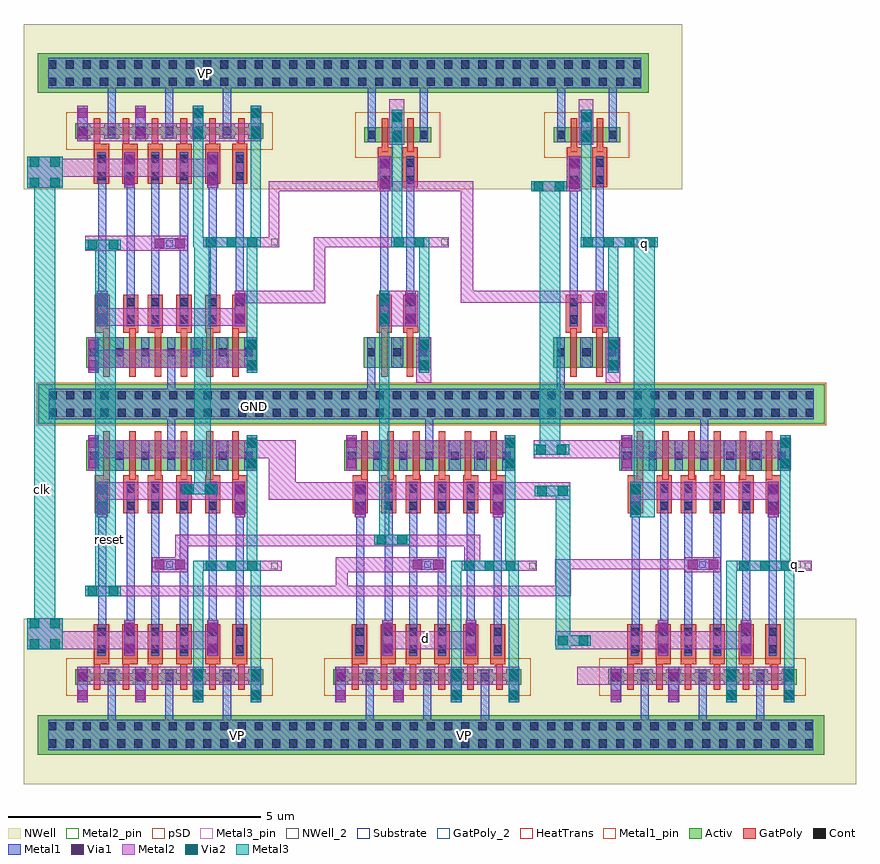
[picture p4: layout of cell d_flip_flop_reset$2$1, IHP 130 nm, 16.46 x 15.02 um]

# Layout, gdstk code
from math import pi, radians
import gdstk
lib = gdstk.Library(unit=1e-6, precision=1e-09)
def R(c, l, rs):  # rectangles x0, y0, x1, y1
    for r in rs: c.add(gdstk.rectangle(r[:2], r[2:], *l))
def A(c, l, x, y, w, h, nx, ny, dx, dy):  # array of equal rectangles
    R(c, l, [(x+i*dx, y+j*dy, x+i*dx+w, y+j*dy+h) for i in range(nx) for j in range(ny)])
Activ = (1, 0)
GatPoly = (5, 0)
GatPoly_2 = (5, 2)
Cont = (6, 0)
Metal1 = (8, 0)
Metal1_pin = (8, 2)
Metal2 = (10, 0)
Metal2_pin = (10, 2)
pSD = (14, 0)
Via1 = (19, 0)
Via2 = (29, 0)
Metal3 = (30, 0)
Metal3_pin = (30, 2)
NWell = (31, 0)
NWell_2 = (31, 2)
Substrate = (40, 0)
HeatTrans = (51, 0)

via_6_16_1 = lib.new_cell('Via$6$16$1')
R(via_6_16_1, Metal1, [(-0.105,-0.35,0.105,0.35)])
R(via_6_16_1, Metal2, [(-0.1,-0.35,0.1,0.35)])
R(via_6_16_1, Via1, [(-0.095,-0.3,0.095,-0.11), (-0.095,0.11,0.095,0.3)])

via_1_1_2_1 = lib.new_cell('Via$1$1$2$1')
R(via_1_1_2_1, Metal2, [(-0.1,-0.555,0.1,0.555)])
A(via_1_1_2_1, Via2, -0.095, -0.505, 0.19, 0.19, 1, 3, 0, 0.41)
R(via_1_1_2_1, Metal3, [(-0.1,-0.555,0.1,0.555)])

nmos_2_4_1 = lib.new_cell('nmos$2$4$1')
A(nmos_2_4_1, Activ, 0, 0, 0.3, 0.3, 7, 1, 0.51, 0)
R(nmos_2_4_1, Activ, [(0,0,3.36,0.6)])
A(nmos_2_4_1, GatPoly, 0.34, -0.18, 0.13, 0.96, 6, 1, 0.51, 0)
R(nmos_2_4_1, GatPoly_2, [(0.34,-0.18,0.47,0.78)])
A(nmos_2_4_1, Cont, 0.07, 0.22, 0.16, 0.16, 7, 1, 0.51, 0)
A(nmos_2_4_1, Metal1, 0.07, 0, 0.16, 0.6, 7, 1, 0.51, 0)
R(nmos_2_4_1, Metal1_pin, [(0.07,0,0.23,0.6), (0.58,0,0.74,0.6)])
A(nmos_2_4_1, HeatTrans, 0.34, -0.18, 0.13, 0.96, 6, 1, 0.51, 0)
nmos_2_4_1.add(gdstk.Label('nmos', (0.405,0.3), layer=63, texttype=0))
nmos_2_4_1.add(gdstk.Label('nmos', (0.405,0.3), layer=51, texttype=0))
nmos_2_4_1.add(gdstk.Label('nmos', (0.915,0.3), layer=51, texttype=0))
nmos_2_4_1.add(gdstk.Label('nmos', (1.425,0.3), layer=51, texttype=0))
nmos_2_4_1.add(gdstk.Label('nmos', (1.935,0.3), layer=51, texttype=0))
nmos_2_4_1.add(gdstk.Label('nmos', (2.445,0.3), layer=51, texttype=0))
nmos_2_4_1.add(gdstk.Label('nmos', (2.955,0.3), layer=51, texttype=0))

ntap1_6_2_1 = lib.new_cell('ntap1$6$2$1')
R(ntap1_6_2_1, Activ, [(0,0,5,0.78)])
A(ntap1_6_2_1, Cont, 0.21, 0.14, 0.16, 0.16, 14, 2, 0.34, 0.34)
R(ntap1_6_2_1, Metal1, [(0.21,0.09,4.79,0.69)])
R(ntap1_6_2_1, Metal1_pin, [(0.21,0.09,4.79,0.69), (0.21,0.14,4.79,0.64)])
R(ntap1_6_2_1, NWell, [(-0.24,-0.24,5.24,1.02), (0,0,5,0.78)])
R(ntap1_6_2_1, NWell_2, [(0,0,5,0.78)])
ntap1_6_2_1.add(gdstk.Label('well', (2.5,0.01), layer=63, texttype=0))
ntap1_6_2_1.add(gdstk.Label('well', (2.5,0.01), layer=31, texttype=0))

ptap1_2_6_1 = lib.new_cell('ptap1$2$6$1')
R(ptap1_2_6_1, Activ, [(0,0,5,0.78)])
A(ptap1_2_6_1, Cont, 0.21, 0.14, 0.16, 0.16, 14, 2, 0.34, 0.34)
R(ptap1_2_6_1, Metal1, [(0.21,0.09,4.79,0.69), (0.21,0.14,4.79,0.64)])
R(ptap1_2_6_1, Metal1_pin, [(0.21,0.14,4.79,0.64)])
R(ptap1_2_6_1, pSD, [(-0.03,-0.03,5.03,0.81)])
R(ptap1_2_6_1, Substrate, [(0,0,5,0.78)])
ptap1_2_6_1.add(gdstk.Label('sub!', (2.5,0.01), layer=63, texttype=0))
ptap1_2_6_1.add(gdstk.Label('sub!', (2.5,0.01), layer=40, texttype=0))

via_2_1_2_1 = lib.new_cell('Via$2$1$2$1')
R(via_2_1_2_1, Metal2, [(-0.1,-0.35,0.1,0.35)])
R(via_2_1_2_1, Via2, [(-0.095,-0.3,0.095,-0.11), (-0.095,0.11,0.095,0.3)])
R(via_2_1_2_1, Metal3, [(-0.1,-0.35,0.1,0.35)])

via_3_1_2_1 = lib.new_cell('Via$3$1$2$1')
R(via_3_1_2_1, GatPoly, [(-0.32,-0.15,0.32,0.15)])
R(via_3_1_2_1, Cont, [(-0.25,-0.08,-0.09,0.08), (0.09,-0.08,0.25,0.08)])
R(via_3_1_2_1, Metal1, [(-0.3,-0.08,0.3,0.08)])

pmos_2_5_4 = lib.new_cell('pmos$2$5$4')
A(pmos_2_5_4, Activ, 0, 0, 0.3, 0.3, 7, 1, 0.57, 0)
R(pmos_2_5_4, Activ, [(0,0.075,3.72,0.225)])
A(pmos_2_5_4, GatPoly, 0.37, -0.105, 0.13, 0.51, 6, 1, 0.57, 0)
R(pmos_2_5_4, GatPoly, [(0.37,-0.105,0.5,0.405)])
A(pmos_2_5_4, Cont, 0.07, 0.07, 0.16, 0.16, 7, 1, 0.57, 0)
A(pmos_2_5_4, Metal1, 0.64, 0.02, 0.16, 0.26, 6, 1, 0.57, 0)
R(pmos_2_5_4, Metal1, [(0.07,0.02,0.23,0.28), (0.07,0.02,0.23,0.28), (0.64,0.02,0.8,0.28)])
R(pmos_2_5_4, pSD, [(-0.18,-0.225,3.9,0.525)])
R(pmos_2_5_4, NWell, [(-0.31,-0.31,4.03,0.61)])
A(pmos_2_5_4, HeatTrans, 0.37, -0.105, 0.13, 0.51, 6, 1, 0.57, 0)
pmos_2_5_4.add(gdstk.Label('pmos', (0.435,0.15), layer=63, texttype=0))
pmos_2_5_4.add(gdstk.Label('pmos', (0.435,0.15), layer=51, texttype=0))
pmos_2_5_4.add(gdstk.Label('pmos', (1.005,0.15), layer=51, texttype=0))
pmos_2_5_4.add(gdstk.Label('pmos', (1.575,0.15), layer=51, texttype=0))
pmos_2_5_4.add(gdstk.Label('pmos', (2.145,0.15), layer=51, texttype=0))
pmos_2_5_4.add(gdstk.Label('pmos', (2.715,0.15), layer=51, texttype=0))
pmos_2_5_4.add(gdstk.Label('pmos', (3.285,0.15), layer=51, texttype=0))

nand_3in_nmosx3_1_2_2 = lib.new_cell('NAND_3in_nmosx3$1$2$2')
A(nand_3in_nmosx3_1_2_2, GatPoly, -0.54, -2.93, 0.3, 0.11, 3, 1, 0.57, 0)
A(nand_3in_nmosx3_1_2_2, GatPoly, -0.54, 0.655, 0.3, 0.15, 3, 1, 0.57, 0)
R(nand_3in_nmosx3_1_2_2, GatPoly, [(-1.585,-2.93,-1.285,-2.82), (-1.02,-2.93,-0.72,-2.82), (1.135,-2.93,1.435,-2.82), (-1.6,0.655,-1.3,0.805), (-1.035,0.655,-0.735,0.805), (1.13,0.655,1.43,0.805), (0.68,0.755,0.81,0.845), (1.22,0.755,1.35,0.845)])
R(nand_3in_nmosx3_1_2_2, Metal1, [(-0.155,-4.075,0.005,-3.295), (0.31,-3.6,0.55,-3.34), (0.82,-3.6,1.06,-3.34), (0.31,-3.36,0.55,-3.02), (0.82,-3.36,1.06,-3.02), (-1.515,-2.44,-1.355,0.56), (-0.95,-2.44,-0.79,0.05), (0.67,-2.44,0.83,0.05), (-0.47,-2.38,-0.31,0.175), (0.1,-2.38,0.26,0.245), (1.2,-2.21,1.36,-1.27), (1.2,-1.31,1.36,-0.37), (1.2,-0.455,1.36,0.075), (0.95,1.005,1.11,2.015), (-1.33,1.07,-1.17,2.065), (-0.19,1.075,-0.03,2.065)])
R(nand_3in_nmosx3_1_2_2, Metal1_pin, [(0.44,-4.33,0.57,-4.2), (0.74,2.225,0.87,2.355)])
R(nand_3in_nmosx3_1_2_2, Metal2, [(-1.685,-3.62,1.605,-3.27), (-1.475,-2.795,1.395,-2.445), (-0.45,-1.315,0.25,-1.015), (1.62,-1.24,2.05,-1.04), (-0.895,0.155,0.83,0.505), (-1.925,0.855,1.7,1.205)])
R(nand_3in_nmosx3_1_2_2, Metal2_pin, [(-1.495,-2.31,-1.365,-2.18), (1.225,-2.31,1.355,-2.18), (-0.175,-1.235,-0.045,-1.105), (1.905,-1.205,2.035,-1.075), (-0.955,0.005,-0.825,0.135), (-0.955,0.005,-0.825,0.135), (0.69,0.005,0.82,0.135), (0.69,0.005,0.82,0.135)])
R(nand_3in_nmosx3_1_2_2, Metal3, [(1.425,-3.03,1.625,-2.83), (1.425,-2.83,1.625,-2.425), (1.425,-2.5,1.625,-1.15), (0.36,-1.24,0.56,-0.97), (0.38,-1.24,0.565,-1.04), (1.66,-1.24,1.7,-1.09), (1.5,-1.09,1.7,0.17), (0.36,-0.97,0.56,0.26), (1.5,0.045,1.7,1.02), (0.36,0.155,0.56,0.855)])
R(nand_3in_nmosx3_1_2_2, NWell, [(-2.99,-0.1,2.93,3.17)])
nand_3in_nmosx3_1_2_2.add(gdstk.Reference(via_6_16_1, (1.285,-2.45), rotation=pi))
nand_3in_nmosx3_1_2_2.add(gdstk.Reference(via_6_16_1, (0.75,0.285), rotation=pi))
nand_3in_nmosx3_1_2_2.add(gdstk.Reference(via_6_16_1, (0.46,1.205), rotation=pi))
nand_3in_nmosx3_1_2_2.add(gdstk.Reference(via_6_16_1, (1.6,1.205), rotation=pi))
nand_3in_nmosx3_1_2_2.add(gdstk.Reference(via_1_1_2_1, (1.12,-1.14), rotation=3*pi/2))
nand_3in_nmosx3_1_2_2.add(gdstk.Reference(nmos_2_4_1, (1.605,-3.02), rotation=pi))
nand_3in_nmosx3_1_2_2.add(gdstk.Reference(ntap1_6_2_1, (-2.71,1.81)))
nand_3in_nmosx3_1_2_2.add(gdstk.Reference(ptap1_2_6_1, (-2.7,-4.73)))
nand_3in_nmosx3_1_2_2.add(gdstk.Reference(via_2_1_2_1, (1.525,-3.37), rotation=pi))
nand_3in_nmosx3_1_2_2.add(gdstk.Reference(via_2_1_2_1, (0.46,1.205), rotation=pi))
nand_3in_nmosx3_1_2_2.add(gdstk.Reference(via_2_1_2_1, (1.6,1.205), rotation=pi))
nand_3in_nmosx3_1_2_2.add(gdstk.Reference(via_3_1_2_1, (0.75,-2.5), rotation=3*pi/2))
nand_3in_nmosx3_1_2_2.add(gdstk.Reference(via_3_1_2_1, (1.285,-2.5), rotation=3*pi/2))
nand_3in_nmosx3_1_2_2.add(gdstk.Reference(via_3_1_2_1, (0.75,0.335), rotation=3*pi/2))
nand_3in_nmosx3_1_2_2.add(gdstk.Reference(via_3_1_2_1, (1.28,0.335), rotation=3*pi/2))
nand_3in_nmosx3_1_2_2.add(gdstk.Reference(pmos_2_5_4, (1.75,1.205), rotation=pi))
nand_3in_nmosx3_1_2_2.add(gdstk.Reference(via_3_1_2_1, (0.18,0.335), rotation=3*pi/2))
nand_3in_nmosx3_1_2_2.add(gdstk.Reference(via_3_1_2_1, (0.18,-2.5), rotation=3*pi/2))
nand_3in_nmosx3_1_2_2.add(gdstk.Reference(via_3_1_2_1, (-0.39,0.335), rotation=3*pi/2))
nand_3in_nmosx3_1_2_2.add(gdstk.Reference(via_3_1_2_1, (-0.39,-2.5), rotation=3*pi/2))
nand_3in_nmosx3_1_2_2.add(gdstk.Reference(via_6_16_1, (-0.1,-1.165), rotation=3*pi/2))
nand_3in_nmosx3_1_2_2.add(gdstk.Reference(via_6_16_1, (-0.68,1.205), rotation=pi))
nand_3in_nmosx3_1_2_2.add(gdstk.Reference(via_6_16_1, (-1.825,1.205), rotation=pi))
nand_3in_nmosx3_1_2_2.add(gdstk.Reference(via_6_16_1, (0.75,0.285), rotation=pi))
nand_3in_nmosx3_1_2_2.add(gdstk.Reference(via_3_1_2_1, (0.75,0.335), rotation=3*pi/2))
nand_3in_nmosx3_1_2_2.add(gdstk.Reference(via_3_1_2_1, (-0.885,0.335), rotation=3*pi/2))
nand_3in_nmosx3_1_2_2.add(gdstk.Reference(via_6_16_1, (-0.895,0.285), rotation=pi))
nand_3in_nmosx3_1_2_2.add(gdstk.Reference(via_3_1_2_1, (-0.885,0.335), rotation=3*pi/2))
nand_3in_nmosx3_1_2_2.add(gdstk.Reference(via_6_16_1, (-0.895,0.285), rotation=pi))
nand_3in_nmosx3_1_2_2.add(gdstk.Reference(via_3_1_2_1, (-0.87,-2.5), rotation=3*pi/2))
nand_3in_nmosx3_1_2_2.add(gdstk.Reference(via_6_16_1, (-1.435,-2.45), rotation=pi))
nand_3in_nmosx3_1_2_2.add(gdstk.Reference(via_3_1_2_1, (-1.435,-2.5), rotation=3*pi/2))
nand_3in_nmosx3_1_2_2.add(gdstk.Reference(via_3_1_2_1, (-1.45,0.335), rotation=3*pi/2))
nand_3in_nmosx3_1_2_2.add(gdstk.Reference(via_6_16_1, (-1.61,-3.37), rotation=pi))
nand_3in_nmosx3_1_2_2.add(gdstk.Reference(via_6_16_1, (1.525,-3.37), rotation=pi))
nand_3in_nmosx3_1_2_2.add(gdstk.Label('GND', (0.505,-4.26), layer=8, texttype=25))
nand_3in_nmosx3_1_2_2.add(gdstk.Label('VP', (0.8,2.285), layer=8, texttype=25))
nand_3in_nmosx3_1_2_2.add(gdstk.Label('a', (-1.435,-2.25), layer=10, texttype=25))
nand_3in_nmosx3_1_2_2.add(gdstk.Label('a', (1.285,-2.25), layer=10, texttype=25))
nand_3in_nmosx3_1_2_2.add(gdstk.Label('b', (0.76,0.095), layer=10, texttype=25))
nand_3in_nmosx3_1_2_2.add(gdstk.Label('b', (-0.885,0.095), layer=10, texttype=25))
nand_3in_nmosx3_1_2_2.add(gdstk.Label('b', (-0.885,0.095), layer=10, texttype=25))
nand_3in_nmosx3_1_2_2.add(gdstk.Label('b', (0.76,0.095), layer=10, texttype=25))
nand_3in_nmosx3_1_2_2.add(gdstk.Label('c', (-0.11,-1.175), layer=10, texttype=25))
nand_3in_nmosx3_1_2_2.add(gdstk.Label('y', (1.97,-1.14), layer=10, texttype=25))

ptap1_11_1 = lib.new_cell('ptap1$11$1')
R(ptap1_11_1, Activ, [(0,0,1.7,0.78)])
A(ptap1_11_1, Cont, 0.09, 0.14, 0.16, 0.16, 5, 2, 0.34, 0.34)
R(ptap1_11_1, Metal1, [(0.09,0.09,1.61,0.69), (0.09,0.14,1.61,0.64)])
R(ptap1_11_1, Metal1_pin, [(0.09,0.14,1.61,0.64)])
R(ptap1_11_1, pSD, [(-0.03,-0.03,1.73,0.81)])
R(ptap1_11_1, Substrate, [(0,0,1.7,0.78)])
ptap1_11_1.add(gdstk.Label('sub!', (0.85,0.01), layer=63, texttype=0))
ptap1_11_1.add(gdstk.Label('sub!', (0.85,0.01), layer=40, texttype=0))

ntap1_2_11_1 = lib.new_cell('ntap1$2$11$1')
R(ntap1_2_11_1, Activ, [(0,0,1.7,0.78)])
A(ntap1_2_11_1, Cont, 0.09, 0.14, 0.16, 0.16, 5, 2, 0.34, 0.34)
R(ntap1_2_11_1, Metal1, [(0.09,0.09,1.61,0.69)])
R(ntap1_2_11_1, Metal1_pin, [(0.09,0.09,1.61,0.69), (0.09,0.14,1.61,0.64)])
R(ntap1_2_11_1, NWell, [(-0.24,-0.24,1.94,1.02), (0,0,1.7,0.78)])
R(ntap1_2_11_1, NWell_2, [(0,0,1.7,0.78)])
ntap1_2_11_1.add(gdstk.Label('well', (0.85,0.01), layer=63, texttype=0))
ntap1_2_11_1.add(gdstk.Label('well', (0.85,0.01), layer=31, texttype=0))

ntap1_41_1 = lib.new_cell('ntap1$41$1')
R(ntap1_41_1, Activ, [(0,0,2.4,0.78)])
A(ntap1_41_1, Cont, 0.1, 0.14, 0.16, 0.16, 7, 2, 0.34, 0.34)
R(ntap1_41_1, Metal1, [(0.1,0.09,2.3,0.69)])
R(ntap1_41_1, Metal1_pin, [(0.1,0.09,2.3,0.69), (0.1,0.14,2.3,0.64)])
R(ntap1_41_1, NWell, [(-0.24,-0.24,2.64,1.02), (0,0,2.4,0.78)])
R(ntap1_41_1, NWell_2, [(0,0,2.4,0.78)])
ntap1_41_1.add(gdstk.Label('well', (1.2,0.01), layer=63, texttype=0))
ntap1_41_1.add(gdstk.Label('well', (1.2,0.01), layer=31, texttype=0))

ntap1_7_2_2 = lib.new_cell('ntap1$7$2$2')
R(ntap1_7_2_2, Activ, [(0,0,2.5,0.78)])
A(ntap1_7_2_2, Cont, 0.15, 0.14, 0.16, 0.16, 7, 2, 0.34, 0.34)
R(ntap1_7_2_2, Metal1, [(0.15,0.09,2.35,0.69)])
R(ntap1_7_2_2, Metal1_pin, [(0.15,0.09,2.35,0.69), (0.15,0.14,2.35,0.64)])
R(ntap1_7_2_2, NWell, [(-0.24,-0.24,2.74,1.02), (0,0,2.5,0.78)])
R(ntap1_7_2_2, NWell_2, [(0,0,2.5,0.78)])
ntap1_7_2_2.add(gdstk.Label('well', (1.25,0.01), layer=63, texttype=0))
ntap1_7_2_2.add(gdstk.Label('well', (1.25,0.01), layer=31, texttype=0))

ptap1_4_3_1 = lib.new_cell('ptap1$4$3$1')
R(ptap1_4_3_1, Activ, [(0,0,2.5,0.78)])
A(ptap1_4_3_1, Cont, 0.15, 0.14, 0.16, 0.16, 7, 2, 0.34, 0.34)
R(ptap1_4_3_1, Metal1, [(0.15,0.09,2.35,0.69), (0.15,0.14,2.35,0.64)])
R(ptap1_4_3_1, Metal1_pin, [(0.15,0.14,2.35,0.64)])
R(ptap1_4_3_1, pSD, [(-0.03,-0.03,2.53,0.81)])
R(ptap1_4_3_1, Substrate, [(0,0,2.5,0.78)])
ptap1_4_3_1.add(gdstk.Label('sub!', (1.25,0.01), layer=63, texttype=0))
ptap1_4_3_1.add(gdstk.Label('sub!', (1.25,0.01), layer=40, texttype=0))

via_7_16_1 = lib.new_cell('Via$7$16$1')
R(via_7_16_1, Metal2, [(-0.1,-0.35,0.1,0.35)])
R(via_7_16_1, Via2, [(-0.095,-0.3,0.095,-0.11), (-0.095,0.11,0.095,0.3)])
R(via_7_16_1, Metal3, [(-0.1,-0.35,0.1,0.35)])

via_1_2_2_1 = lib.new_cell('Via$1$2$2$1')
R(via_1_2_2_1, Metal1, [(-0.105,-0.35,0.105,0.35)])
R(via_1_2_2_1, Metal2, [(-0.1,-0.35,0.1,0.35)])
R(via_1_2_2_1, Via1, [(-0.095,-0.3,0.095,-0.11), (-0.095,0.11,0.095,0.3)])

via_2_2_2_1 = lib.new_cell('Via$2$2$2$1')
R(via_2_2_2_1, GatPoly, [(-0.32,-0.15,0.32,0.15)])
R(via_2_2_2_1, Cont, [(-0.25,-0.08,-0.09,0.08), (0.09,-0.08,0.25,0.08)])
R(via_2_2_2_1, Metal1, [(-0.3,-0.08,0.3,0.08)])

pmos_3_4_1 = lib.new_cell('pmos$3$4$1')
A(pmos_3_4_1, Activ, 0, 0, 0.3, 0.3, 3, 1, 0.51, 0)
R(pmos_3_4_1, Activ, [(0,0,1.32,0.3)])
R(pmos_3_4_1, GatPoly, [(0.34,-0.18,0.47,0.48), (0.34,-0.18,0.47,0.48), (0.85,-0.18,0.98,0.48)])
A(pmos_3_4_1, Cont, 0.07, 0.07, 0.16, 0.16, 3, 1, 0.51, 0)
R(pmos_3_4_1, Metal1, [(0.07,0,0.23,0.3), (0.07,0,0.23,0.3), (0.58,0,0.74,0.3), (0.58,0,0.74,0.3), (1.09,0,1.25,0.3)])
R(pmos_3_4_1, pSD, [(-0.18,-0.3,1.5,0.6)])
R(pmos_3_4_1, NWell, [(-0.31,-0.31,1.63,0.61)])
R(pmos_3_4_1, HeatTrans, [(0.34,-0.18,0.47,0.48), (0.85,-0.18,0.98,0.48)])
pmos_3_4_1.add(gdstk.Label('pmos', (0.405,0.15), layer=63, texttype=0))
pmos_3_4_1.add(gdstk.Label('pmos', (0.405,0.15), layer=51, texttype=0))
pmos_3_4_1.add(gdstk.Label('pmos', (0.915,0.15), layer=51, texttype=0))

nmos_3_2_1 = lib.new_cell('nmos$3$2$1')
A(nmos_3_2_1, Activ, 0, 0, 0.3, 0.3, 3, 1, 0.51, 0)
R(nmos_3_2_1, Activ, [(0,0,1.32,0.6)])
R(nmos_3_2_1, GatPoly, [(0.34,-0.18,0.47,0.78), (0.85,-0.18,0.98,0.78)])
R(nmos_3_2_1, GatPoly_2, [(0.34,-0.18,0.47,0.78)])
A(nmos_3_2_1, Cont, 0.07, 0.22, 0.16, 0.16, 3, 1, 0.51, 0)
A(nmos_3_2_1, Metal1, 0.07, 0, 0.16, 0.6, 3, 1, 0.51, 0)
R(nmos_3_2_1, Metal1_pin, [(0.07,0,0.23,0.6), (0.58,0,0.74,0.6)])
R(nmos_3_2_1, HeatTrans, [(0.34,-0.18,0.47,0.78), (0.85,-0.18,0.98,0.78)])
nmos_3_2_1.add(gdstk.Label('nmos', (0.405,0.3), layer=63, texttype=0))
nmos_3_2_1.add(gdstk.Label('nmos', (0.405,0.3), layer=51, texttype=0))
nmos_3_2_1.add(gdstk.Label('nmos', (0.915,0.3), layer=51, texttype=0))

nand_2in_nmosx2_1_2_1 = lib.new_cell('NAND_2in_nmosx2$1$2$1')
R(nand_2in_nmosx2_1_2_1, GatPoly, [(0.63,-2.93,0.93,-2.82), (1.15,-2.93,1.45,-2.82), (0.645,0.58,0.945,0.73), (1.145,0.58,1.445,0.73), (0.725,0.68,0.855,0.77)])
R(nand_2in_nmosx2_1_2_1, Metal1, [(0.445,-4.32,0.605,-3.295), (0.915,-3.6,1.155,-3.34), (0.915,-3.36,1.155,-3.02), (0.7,-2.68,0.86,0.26), (1.215,-2.21,1.375,-1.27), (1.215,-1.31,1.375,-0.37), (1.215,-0.37,1.375,-0.01), (0.455,1.01,0.615,1.15), (0.455,1.115,0.615,1.99), (1.475,1.115,1.635,1.94)])
R(nand_2in_nmosx2_1_2_1, Metal1_pin, [(0.44,-4.32,0.57,-4.19), (0.4,2.15,0.53,2.28)])
R(nand_2in_nmosx2_1_2_1, Metal2, [(1.415,-3.92,1.705,-3.72), (1.415,-3.72,1.705,-3.02), (1.15,-2.8,1.45,-2.1), (1.62,-1.24,2.05,-1.04), (0.645,-0.14,0.945,0.56), (0.88,0.78,1.17,0.98), (0.88,0.98,1.17,1.68)])
R(nand_2in_nmosx2_1_2_1, Metal2_pin, [(1.24,-2.27,1.37,-2.14), (1.905,-1.205,2.035,-1.075), (0.735,-0.1,0.865,0.03)])
R(nand_2in_nmosx2_1_2_1, Metal3, [(1.465,-3.03,1.665,-2.83), (1.465,-2.905,1.665,-1.045), (0.93,-1.09,1.13,0.17), (0.93,0.1,1.13,0.62), (0.93,0.62,1.13,0.72), (0.93,0.71,1.13,0.87)])
R(nand_2in_nmosx2_1_2_1, NWell, [(-0.85,-0.1,2.93,3.17)])
nand_2in_nmosx2_1_2_1.add(gdstk.Reference(ntap1_7_2_2, (-0.23,1.81)))
nand_2in_nmosx2_1_2_1.add(gdstk.Reference(ptap1_4_3_1, (-0.22,-4.73)))
nand_2in_nmosx2_1_2_1.add(gdstk.Reference(via_7_16_1, (1.27,-1.14), rotation=3*pi/2))
nand_2in_nmosx2_1_2_1.add(gdstk.Reference(via_1_2_2_1, (1.565,-3.37), rotation=pi))
nand_2in_nmosx2_1_2_1.add(gdstk.Reference(via_1_2_2_1, (1.3,-2.45), rotation=pi))
nand_2in_nmosx2_1_2_1.add(gdstk.Reference(via_1_2_2_1, (0.795,0.21), rotation=pi))
nand_2in_nmosx2_1_2_1.add(gdstk.Reference(via_1_2_2_1, (1.03,1.13), rotation=pi))
nand_2in_nmosx2_1_2_1.add(gdstk.Reference(via_2_2_2_1, (1.3,-2.5), rotation=3*pi/2))
nand_2in_nmosx2_1_2_1.add(gdstk.Reference(via_2_2_2_1, (0.795,0.26), rotation=3*pi/2))
nand_2in_nmosx2_1_2_1.add(gdstk.Reference(via_2_2_2_1, (1.295,0.26), rotation=3*pi/2))
nand_2in_nmosx2_1_2_1.add(gdstk.Reference(via_7_16_1, (1.565,-3.37), rotation=pi))
nand_2in_nmosx2_1_2_1.add(gdstk.Reference(via_7_16_1, (1.03,1.13), rotation=pi))
nand_2in_nmosx2_1_2_1.add(gdstk.Reference(pmos_3_4_1, (1.705,1.13), rotation=pi))
nand_2in_nmosx2_1_2_1.add(gdstk.Reference(via_2_2_2_1, (0.78,-2.5), rotation=3*pi/2))
nand_2in_nmosx2_1_2_1.add(gdstk.Reference(nmos_3_2_1, (1.695,-3.02), rotation=pi))
nand_2in_nmosx2_1_2_1.add(gdstk.Label('GND', (0.505,-4.25), layer=8, texttype=25))
nand_2in_nmosx2_1_2_1.add(gdstk.Label('VP', (0.46,2.21), layer=8, texttype=25))
nand_2in_nmosx2_1_2_1.add(gdstk.Label('b', (0.795,-0.04), layer=10, texttype=25))
nand_2in_nmosx2_1_2_1.add(gdstk.Label('a', (1.3,-2.21), layer=10, texttype=25))
nand_2in_nmosx2_1_2_1.add(gdstk.Label('y', (1.97,-1.14), layer=10, texttype=25))

ntap1_4_2_1 = lib.new_cell('ntap1$4$2$1')
R(ntap1_4_2_1, Activ, [(0,0,2.2,0.78)])
A(ntap1_4_2_1, Cont, 0.17, 0.14, 0.16, 0.16, 6, 2, 0.34, 0.34)
R(ntap1_4_2_1, Metal1, [(0.17,0.09,2.03,0.69)])
R(ntap1_4_2_1, Metal1_pin, [(0.17,0.09,2.03,0.69), (0.17,0.14,2.03,0.64)])
R(ntap1_4_2_1, NWell, [(-0.24,-0.24,2.44,1.02), (0,0,2.2,0.78)])
R(ntap1_4_2_1, NWell_2, [(0,0,2.2,0.78)])
ntap1_4_2_1.add(gdstk.Label('well', (1.1,0.01), layer=63, texttype=0))
ntap1_4_2_1.add(gdstk.Label('well', (1.1,0.01), layer=31, texttype=0))

via_28_1 = lib.new_cell('Via$28$1')
R(via_28_1, Metal2, [(-0.35,-0.1,0.35,0.1)])
R(via_28_1, Via2, [(-0.3,-0.095,-0.11,0.095), (0.11,-0.095,0.3,0.095)])
R(via_28_1, Metal3, [(-0.35,-0.1,0.35,0.1)])

via_1_6_2 = lib.new_cell('Via$1$6$2')
R(via_1_6_2, Metal2, [(-0.35,-0.305,0.35,0.305)])
R(via_1_6_2, Via2, [(-0.3,-0.3,-0.11,-0.11), (0.11,-0.3,0.3,-0.11), (-0.3,0.11,-0.11,0.3), (0.11,0.11,0.3,0.3)])
R(via_1_6_2, Metal3, [(-0.35,-0.305,0.35,0.305)])

d_flip_flop_reset_2_1 = lib.new_cell('d_flip_flop_reset$2$1')
R(d_flip_flop_reset_2_1, Metal1_pin, [(4.345,-7.965,4.475,-7.835), (-0.13,-7.955,0,-7.825), (0.19,-1.45,0.32,-1.32), (-0.775,5.135,-0.645,5.265)])
R(d_flip_flop_reset_2_1, Metal2, [(6.64,-6.885,7.635,-6.535), (-3.98,-6.185,-1.905,-5.835), (6.215,-6.185,8.6,-5.835), (-2.955,-5.135,2.105,-4.935), (1.865,-5.135,2.105,-4.585), (2,-5.135,6.515,-4.935), (6.21,-5.135,6.515,-4.52), (1.865,-4.665,3.56,-4.365), (0.62,-4.64,0.8,-4.44), (4.405,-4.64,4.725,-4.025), (6.21,-4.61,9.48,-4.41), (-1.3,-4.51,-1.06,-3.96), (-1.3,-4.15,4.725,-3.92), (0.545,-3.235,2.615,-2.885), (0.545,-3.235,1.075,-2.06), (4.86,-3.235,6.5,-2.885), (0.015,-2.41,1.075,-2.06), (5.78,-2.41,8.05,-2.06), (2.86,0.2,3.25,0.9), (-0.125,0.535,0.085,0.735), (-0.125,0.65,1.66,0.9), (1.43,0.65,1.66,1.96), (4.345,0.66,7.05,0.9), (4.345,0.9,4.585,3.06), (-3.08,1.685,-1.76,1.985), (0.55,1.76,0.75,3.058), (1.66,1.76,3.02,1.96), (0.55,2.86,4.535,3.06), (-3.98,3.155,-1.905,3.505)])
R(d_flip_flop_reset_2_1, Metal2_pin, [(3.58,-6.03,3.71,-5.9), (10.93,-4.58,11.06,-4.45), (7.905,1.77,8.035,1.9)])
R(d_flip_flop_reset_2_1, Metal3, [(6.215,-6.185,6.5,-2.96), (-4.085,-5.99,-3.675,3.04), (-2.885,-5.135,-2.475,1.81), (2.73,-4.015,2.93,0.215), (7.76,-3.58,8.17,1.96), (-0.93,-3.115,-0.6,1.96), (5.9,-2.285,6.31,3.02), (7.405,1.76,7.725,1.96)])
R(d_flip_flop_reset_2_1, Metal3_pin, [(-2.66,-4.08,-2.53,-3.95), (-4,-3.09,-3.87,-2.96)])
d_flip_flop_reset_2_1.add(gdstk.Reference(nand_3in_nmosx3_1_2_2, (-1.31,3)))
d_flip_flop_reset_2_1.add(gdstk.Reference(ptap1_11_1, (0.53,-1.73)))
d_flip_flop_reset_2_1.add(gdstk.Reference(ptap1_11_1, (3.93,-1.73)))
d_flip_flop_reset_2_1.add(gdstk.Reference(nand_3in_nmosx3_1_2_2, (-1.31,-5.68), x_reflection=True))
d_flip_flop_reset_2_1.add(gdstk.Reference(nand_3in_nmosx3_1_2_2, (3.79,-5.68), x_reflection=True))
d_flip_flop_reset_2_1.add(gdstk.Reference(ntap1_2_11_1, (0.52,4.81)))
d_flip_flop_reset_2_1.add(gdstk.Reference(ntap1_2_11_1, (0.52,-8.27)))
d_flip_flop_reset_2_1.add(gdstk.Reference(ntap1_41_1, (4.93,-8.27)))
d_flip_flop_reset_2_1.add(gdstk.Reference(nand_3in_nmosx3_1_2_2, (9.23,-5.68), x_reflection=True))
d_flip_flop_reset_2_1.add(gdstk.Reference(nand_2in_nmosx2_1_2_1, (5.79,3)))
d_flip_flop_reset_2_1.add(gdstk.Reference(ntap1_4_2_1, (3.84,4.81)))
d_flip_flop_reset_2_1.add(gdstk.Reference(ntap1_2_11_1, (-3.9,-8.27)))
d_flip_flop_reset_2_1.add(gdstk.Reference(nand_2in_nmosx2_1_2_1, (2.05,3)))
d_flip_flop_reset_2_1.add(gdstk.Reference(via_28_1, (-0.825,-3.025)))
d_flip_flop_reset_2_1.add(gdstk.Reference(via_28_1, (2.98,-4.02)))
d_flip_flop_reset_2_1.add(gdstk.Reference(via_28_1, (2.83,0.55), rotation=pi/2))
d_flip_flop_reset_2_1.add(gdstk.Reference(via_28_1, (6.15,-3.06)))
d_flip_flop_reset_2_1.add(gdstk.Reference(via_28_1, (6.56,-6.015)))
d_flip_flop_reset_2_1.add(gdstk.Reference(via_1_6_2, (-3.88,-5.88)))
d_flip_flop_reset_2_1.add(gdstk.Reference(via_1_6_2, (-3.88,3.24)))
d_flip_flop_reset_2_1.add(gdstk.Reference(via_28_1, (-2.73,-5.035)))
d_flip_flop_reset_2_1.add(gdstk.Reference(via_28_1, (-2.73,1.81)))
d_flip_flop_reset_2_1.add(gdstk.Reference(via_28_1, (6.13,-2.24)))
d_flip_flop_reset_2_1.add(gdstk.Reference(via_28_1, (6.085,2.96)))
d_flip_flop_reset_2_1.add(gdstk.Reference(via_28_1, (7.88,1.86)))
d_flip_flop_reset_2_1.add(gdstk.Reference(via_28_1, (7.8,-3.23), rotation=3*pi/2))
d_flip_flop_reset_2_1.add(gdstk.Label('VP', (4.41,-7.9), layer=8, texttype=25))
d_flip_flop_reset_2_1.add(gdstk.Label('VP', (-0.71,5.2), layer=8, texttype=25))
d_flip_flop_reset_2_1.add(gdstk.Label('VP', (-0.065,-7.89), layer=8, texttype=25))
d_flip_flop_reset_2_1.add(gdstk.Label('GND', (0.255,-1.385), layer=8, texttype=25))
d_flip_flop_reset_2_1.add(gdstk.Label('d', (3.645,-5.965), layer=10, texttype=25))
d_flip_flop_reset_2_1.add(gdstk.Label('q_', (10.995,-4.515), layer=10, texttype=25))
d_flip_flop_reset_2_1.add(gdstk.Label('q', (7.97,1.835), layer=10, texttype=25))
d_flip_flop_reset_2_1.add(gdstk.Label('clk', (-3.935,-3.025), layer=30, texttype=25))
d_flip_flop_reset_2_1.add(gdstk.Label('reset', (-2.595,-4.015), layer=30, texttype=25))

lib.write_gds('d_flip_flop_reset_2_1.gds')
